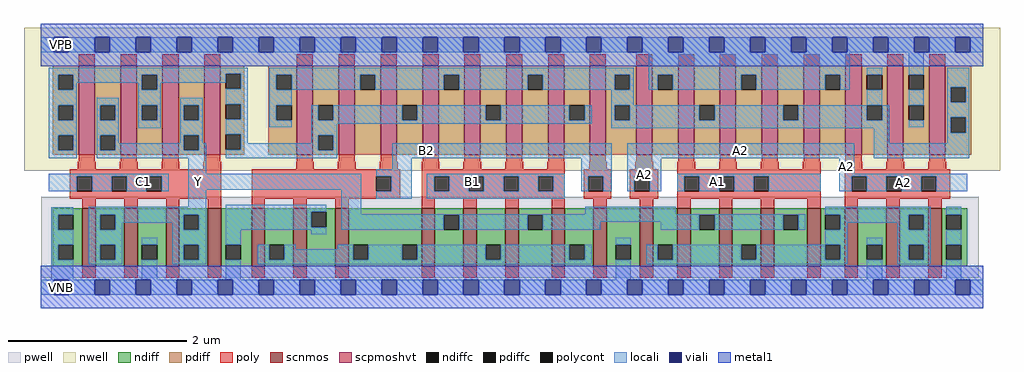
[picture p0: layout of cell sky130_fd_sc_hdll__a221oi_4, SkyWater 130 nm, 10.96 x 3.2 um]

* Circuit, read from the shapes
.subckt sky130_fd_sc_hdll__a221oi_4 A1 A2 B1 B2 C1 VGND VNB VPB VPWR Y
XM1 Y C1 VGND VNB sky130_fd_pr__nfet_01v8 w=0.65 l=0.15 m=4
XM2 n1 B2 VGND VNB sky130_fd_pr__nfet_01v8 w=0.65 l=0.15 m=4
XM3 Y B1 n1 VNB sky130_fd_pr__nfet_01v8 w=0.65 l=0.15 m=4
XM4 n2 A2 VGND VNB sky130_fd_pr__nfet_01v8 w=0.65 l=0.15 m=4
XM5 Y A1 n2 VNB sky130_fd_pr__nfet_01v8 w=0.65 l=0.15 m=4
XM6 Y C1 n3 VPB sky130_fd_pr__pfet_01v8_hvt w=1 l=0.18 m=4
XM7 n3 B2 n4 VPB sky130_fd_pr__pfet_01v8_hvt w=1 l=0.18 m=4
XM8 n4 B1 n3 VPB sky130_fd_pr__pfet_01v8_hvt w=1 l=0.18 m=4
XM9 VPWR A2 n4 VPB sky130_fd_pr__pfet_01v8_hvt w=1 l=0.18 m=4
XM10 n4 A1 VPWR VPB sky130_fd_pr__pfet_01v8_hvt w=1 l=0.18 m=4
.ends

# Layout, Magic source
magic
tech sky130A
magscale 1 2
<< nwell >>
rect -38 261 2154 582
<< pwell >>
rect 1 21 2106 203
rect 30 -17 64 21
<< scnmos >>
rect 93 47 123 177
rect 187 47 217 177
rect 281 47 311 177
rect 375 47 405 177
rect 473 47 503 177
rect 567 47 597 177
rect 661 47 691 177
rect 855 47 885 177
rect 949 47 979 177
rect 1043 47 1073 177
rect 1147 47 1177 177
rect 1241 47 1271 177
rect 1345 47 1375 177
rect 1429 47 1459 177
rect 1523 47 1553 177
rect 1617 47 1647 177
rect 1721 47 1751 177
rect 1805 47 1835 177
rect 1899 47 1929 177
rect 1993 47 2023 177
<< scpmoshvt >>
rect 85 297 121 497
rect 179 297 215 497
rect 273 297 309 497
rect 367 297 403 497
rect 575 297 611 497
rect 669 297 705 497
rect 763 297 799 497
rect 857 297 893 497
rect 951 297 987 497
rect 1045 297 1081 497
rect 1139 297 1175 497
rect 1233 297 1269 497
rect 1337 297 1373 497
rect 1431 297 1467 497
rect 1525 297 1561 497
rect 1619 297 1655 497
rect 1713 297 1749 497
rect 1807 297 1843 497
rect 1901 297 1937 497
rect 1995 297 2031 497
<< ndiff >>
rect 27 163 93 177
rect 27 129 39 163
rect 73 129 93 163
rect 27 95 93 129
rect 27 61 39 95
rect 73 61 93 95
rect 27 47 93 61
rect 123 163 187 177
rect 123 129 133 163
rect 167 129 187 163
rect 123 95 187 129
rect 123 61 133 95
rect 167 61 187 95
rect 123 47 187 61
rect 217 95 281 177
rect 217 61 227 95
rect 261 61 281 95
rect 217 47 281 61
rect 311 163 375 177
rect 311 129 321 163
rect 355 129 375 163
rect 311 95 375 129
rect 311 61 321 95
rect 355 61 375 95
rect 311 47 375 61
rect 405 95 473 177
rect 405 61 415 95
rect 449 61 473 95
rect 405 47 473 61
rect 503 95 567 177
rect 503 61 513 95
rect 547 61 567 95
rect 503 47 567 61
rect 597 169 661 177
rect 597 135 607 169
rect 641 135 661 169
rect 597 47 661 135
rect 691 95 855 177
rect 691 61 701 95
rect 735 61 811 95
rect 845 61 855 95
rect 691 47 855 61
rect 885 163 949 177
rect 885 129 905 163
rect 939 129 949 163
rect 885 47 949 129
rect 979 95 1043 177
rect 979 61 999 95
rect 1033 61 1043 95
rect 979 47 1043 61
rect 1073 163 1147 177
rect 1073 129 1093 163
rect 1127 129 1147 163
rect 1073 47 1147 129
rect 1177 95 1241 177
rect 1177 61 1187 95
rect 1221 61 1241 95
rect 1177 47 1241 61
rect 1271 95 1345 177
rect 1271 61 1291 95
rect 1325 61 1345 95
rect 1271 47 1345 61
rect 1375 95 1429 177
rect 1375 61 1385 95
rect 1419 61 1429 95
rect 1375 47 1429 61
rect 1459 163 1523 177
rect 1459 129 1479 163
rect 1513 129 1523 163
rect 1459 47 1523 129
rect 1553 95 1617 177
rect 1553 61 1573 95
rect 1607 61 1617 95
rect 1553 47 1617 61
rect 1647 163 1721 177
rect 1647 129 1667 163
rect 1701 129 1721 163
rect 1647 47 1721 129
rect 1751 163 1805 177
rect 1751 129 1761 163
rect 1795 129 1805 163
rect 1751 95 1805 129
rect 1751 61 1761 95
rect 1795 61 1805 95
rect 1751 47 1805 61
rect 1835 95 1899 177
rect 1835 61 1855 95
rect 1889 61 1899 95
rect 1835 47 1899 61
rect 1929 163 1993 177
rect 1929 129 1949 163
rect 1983 129 1993 163
rect 1929 95 1993 129
rect 1929 61 1949 95
rect 1983 61 1993 95
rect 1929 47 1993 61
rect 2023 163 2080 177
rect 2023 129 2033 163
rect 2067 129 2080 163
rect 2023 95 2080 129
rect 2023 61 2033 95
rect 2067 61 2080 95
rect 2023 47 2080 61
<< pdiff >>
rect 27 477 85 497
rect 27 443 39 477
rect 73 443 85 477
rect 27 409 85 443
rect 27 375 39 409
rect 73 375 85 409
rect 27 341 85 375
rect 27 307 39 341
rect 73 307 85 341
rect 27 297 85 307
rect 121 409 179 497
rect 121 375 133 409
rect 167 375 179 409
rect 121 341 179 375
rect 121 307 133 341
rect 167 307 179 341
rect 121 297 179 307
rect 215 477 273 497
rect 215 443 227 477
rect 261 443 273 477
rect 215 409 273 443
rect 215 375 227 409
rect 261 375 273 409
rect 215 297 273 375
rect 309 409 367 497
rect 309 375 321 409
rect 355 375 367 409
rect 309 341 367 375
rect 309 307 321 341
rect 355 307 367 341
rect 309 297 367 307
rect 403 479 457 497
rect 403 445 415 479
rect 449 445 457 479
rect 403 411 457 445
rect 403 377 415 411
rect 449 377 457 411
rect 403 343 457 377
rect 403 309 415 343
rect 449 309 457 343
rect 403 297 457 309
rect 511 477 575 497
rect 511 443 529 477
rect 563 443 575 477
rect 511 409 575 443
rect 511 375 529 409
rect 563 375 575 409
rect 511 297 575 375
rect 611 409 669 497
rect 611 375 623 409
rect 657 375 669 409
rect 611 341 669 375
rect 611 307 623 341
rect 657 307 669 341
rect 611 297 669 307
rect 705 477 763 497
rect 705 443 717 477
rect 751 443 763 477
rect 705 297 763 443
rect 799 409 857 497
rect 799 375 811 409
rect 845 375 857 409
rect 799 297 857 375
rect 893 477 951 497
rect 893 443 905 477
rect 939 443 951 477
rect 893 297 951 443
rect 987 409 1045 497
rect 987 375 999 409
rect 1033 375 1045 409
rect 987 297 1045 375
rect 1081 477 1139 497
rect 1081 443 1093 477
rect 1127 443 1139 477
rect 1081 297 1139 443
rect 1175 409 1233 497
rect 1175 375 1187 409
rect 1221 375 1233 409
rect 1175 297 1233 375
rect 1269 477 1337 497
rect 1269 443 1289 477
rect 1323 443 1337 477
rect 1269 409 1337 443
rect 1269 375 1289 409
rect 1323 375 1337 409
rect 1269 297 1337 375
rect 1373 477 1431 497
rect 1373 443 1385 477
rect 1419 443 1431 477
rect 1373 297 1431 443
rect 1467 409 1525 497
rect 1467 375 1479 409
rect 1513 375 1525 409
rect 1467 297 1525 375
rect 1561 477 1619 497
rect 1561 443 1573 477
rect 1607 443 1619 477
rect 1561 297 1619 443
rect 1655 409 1713 497
rect 1655 375 1667 409
rect 1701 375 1713 409
rect 1655 297 1713 375
rect 1749 477 1807 497
rect 1749 443 1761 477
rect 1795 443 1807 477
rect 1749 297 1807 443
rect 1843 477 1901 497
rect 1843 443 1855 477
rect 1889 443 1901 477
rect 1843 409 1901 443
rect 1843 375 1855 409
rect 1889 375 1901 409
rect 1843 297 1901 375
rect 1937 477 1995 497
rect 1937 443 1949 477
rect 1983 443 1995 477
rect 1937 409 1995 443
rect 1937 375 1949 409
rect 1983 375 1995 409
rect 1937 297 1995 375
rect 2031 449 2089 497
rect 2031 415 2043 449
rect 2077 415 2089 449
rect 2031 381 2089 415
rect 2031 347 2043 381
rect 2077 347 2089 381
rect 2031 297 2089 347
<< ndiffc >>
rect 39 129 73 163
rect 39 61 73 95
rect 133 129 167 163
rect 133 61 167 95
rect 227 61 261 95
rect 321 129 355 163
rect 321 61 355 95
rect 415 61 449 95
rect 513 61 547 95
rect 607 135 641 169
rect 701 61 735 95
rect 811 61 845 95
rect 905 129 939 163
rect 999 61 1033 95
rect 1093 129 1127 163
rect 1187 61 1221 95
rect 1291 61 1325 95
rect 1385 61 1419 95
rect 1479 129 1513 163
rect 1573 61 1607 95
rect 1667 129 1701 163
rect 1761 129 1795 163
rect 1761 61 1795 95
rect 1855 61 1889 95
rect 1949 129 1983 163
rect 1949 61 1983 95
rect 2033 129 2067 163
rect 2033 61 2067 95
<< pdiffc >>
rect 39 443 73 477
rect 39 375 73 409
rect 39 307 73 341
rect 133 375 167 409
rect 133 307 167 341
rect 227 443 261 477
rect 227 375 261 409
rect 321 375 355 409
rect 321 307 355 341
rect 415 445 449 479
rect 415 377 449 411
rect 415 309 449 343
rect 529 443 563 477
rect 529 375 563 409
rect 623 375 657 409
rect 623 307 657 341
rect 717 443 751 477
rect 811 375 845 409
rect 905 443 939 477
rect 999 375 1033 409
rect 1093 443 1127 477
rect 1187 375 1221 409
rect 1289 443 1323 477
rect 1289 375 1323 409
rect 1385 443 1419 477
rect 1479 375 1513 409
rect 1573 443 1607 477
rect 1667 375 1701 409
rect 1761 443 1795 477
rect 1855 443 1889 477
rect 1855 375 1889 409
rect 1949 443 1983 477
rect 1949 375 1983 409
rect 2043 415 2077 449
rect 2043 347 2077 381
<< poly >>
rect 85 497 121 523
rect 179 497 215 523
rect 273 497 309 523
rect 367 497 403 523
rect 575 497 611 523
rect 669 497 705 523
rect 763 497 799 523
rect 857 497 893 523
rect 951 497 987 523
rect 1045 497 1081 523
rect 1139 497 1175 523
rect 1233 497 1269 523
rect 1337 497 1373 523
rect 1431 497 1467 523
rect 1525 497 1561 523
rect 1619 497 1655 523
rect 1713 497 1749 523
rect 1807 497 1843 523
rect 1901 497 1937 523
rect 1995 497 2031 523
rect 85 282 121 297
rect 179 282 215 297
rect 273 282 309 297
rect 367 282 403 297
rect 575 282 611 297
rect 669 282 705 297
rect 763 282 799 297
rect 857 282 893 297
rect 951 282 987 297
rect 1045 282 1081 297
rect 1139 282 1175 297
rect 1233 282 1269 297
rect 1337 282 1373 297
rect 1431 282 1467 297
rect 1525 282 1561 297
rect 1619 282 1655 297
rect 1713 282 1749 297
rect 1807 282 1843 297
rect 1901 282 1937 297
rect 1995 282 2031 297
rect 83 265 123 282
rect 177 265 217 282
rect 271 265 311 282
rect 365 265 405 282
rect 573 265 613 282
rect 667 265 707 282
rect 761 265 801 282
rect 855 265 895 282
rect 949 265 989 282
rect 1043 265 1083 282
rect 1137 265 1177 282
rect 1231 265 1271 282
rect 1335 265 1375 282
rect 1429 265 1469 282
rect 1523 265 1563 282
rect 1617 265 1657 282
rect 1711 265 1751 282
rect 65 249 405 265
rect 65 215 81 249
rect 115 215 159 249
rect 193 215 237 249
rect 271 215 405 249
rect 65 199 405 215
rect 93 177 123 199
rect 187 177 217 199
rect 281 177 311 199
rect 375 177 405 199
rect 473 249 807 265
rect 473 215 753 249
rect 787 215 807 249
rect 473 199 807 215
rect 855 249 1177 265
rect 855 215 883 249
rect 917 215 961 249
rect 995 215 1039 249
rect 1073 215 1117 249
rect 1151 215 1177 249
rect 855 199 1177 215
rect 1219 249 1281 265
rect 1219 215 1229 249
rect 1263 215 1281 249
rect 1219 199 1281 215
rect 1323 249 1387 265
rect 1323 215 1333 249
rect 1367 215 1387 249
rect 1323 199 1387 215
rect 1429 249 1751 265
rect 1429 215 1445 249
rect 1479 215 1523 249
rect 1557 215 1601 249
rect 1635 215 1751 249
rect 1429 199 1751 215
rect 473 177 503 199
rect 567 177 597 199
rect 661 177 691 199
rect 855 177 885 199
rect 949 177 979 199
rect 1043 177 1073 199
rect 1147 177 1177 199
rect 1241 177 1271 199
rect 1345 177 1375 199
rect 1429 177 1459 199
rect 1523 177 1553 199
rect 1617 177 1647 199
rect 1721 177 1751 199
rect 1805 265 1845 282
rect 1899 265 1939 282
rect 1993 265 2033 282
rect 1805 249 2042 265
rect 1805 215 1821 249
rect 1855 215 1899 249
rect 1933 215 1977 249
rect 2011 215 2042 249
rect 1805 199 2042 215
rect 1805 177 1835 199
rect 1899 177 1929 199
rect 1993 177 2023 199
rect 93 21 123 47
rect 187 21 217 47
rect 281 21 311 47
rect 375 21 405 47
rect 473 21 503 47
rect 567 21 597 47
rect 661 21 691 47
rect 855 21 885 47
rect 949 21 979 47
rect 1043 21 1073 47
rect 1147 21 1177 47
rect 1241 21 1271 47
rect 1345 21 1375 47
rect 1429 21 1459 47
rect 1523 21 1553 47
rect 1617 21 1647 47
rect 1721 21 1751 47
rect 1805 21 1835 47
rect 1899 21 1929 47
rect 1993 21 2023 47
<< polycont >>
rect 81 215 115 249
rect 159 215 193 249
rect 237 215 271 249
rect 753 215 787 249
rect 883 215 917 249
rect 961 215 995 249
rect 1039 215 1073 249
rect 1117 215 1151 249
rect 1229 215 1263 249
rect 1333 215 1367 249
rect 1445 215 1479 249
rect 1523 215 1557 249
rect 1601 215 1635 249
rect 1821 215 1855 249
rect 1899 215 1933 249
rect 1977 215 2011 249
<< locali >>
rect 0 527 29 561
rect 63 527 121 561
rect 155 527 213 561
rect 247 527 305 561
rect 339 527 397 561
rect 431 527 489 561
rect 523 527 581 561
rect 615 527 673 561
rect 707 527 765 561
rect 799 527 857 561
rect 891 527 949 561
rect 983 527 1041 561
rect 1075 527 1133 561
rect 1167 527 1225 561
rect 1259 527 1317 561
rect 1351 527 1409 561
rect 1443 527 1501 561
rect 1535 527 1593 561
rect 1627 527 1685 561
rect 1719 527 1777 561
rect 1811 527 1869 561
rect 1903 527 1961 561
rect 1995 527 2053 561
rect 2087 527 2116 561
rect 18 479 465 493
rect 18 477 415 479
rect 18 443 39 477
rect 73 459 227 477
rect 73 443 81 459
rect 18 409 81 443
rect 219 443 227 459
rect 261 459 415 477
rect 261 443 269 459
rect 18 375 39 409
rect 73 375 81 409
rect 18 341 81 375
rect 18 307 39 341
rect 73 307 81 341
rect 18 289 81 307
rect 125 409 175 425
rect 125 375 133 409
rect 167 375 175 409
rect 125 341 175 375
rect 219 409 269 443
rect 449 445 465 479
rect 219 375 227 409
rect 261 375 269 409
rect 219 357 269 375
rect 313 409 363 425
rect 313 375 321 409
rect 355 375 363 409
rect 125 307 133 341
rect 167 323 175 341
rect 313 341 363 375
rect 313 323 321 341
rect 167 307 321 323
rect 355 323 363 341
rect 415 411 465 445
rect 449 377 465 411
rect 415 343 465 377
rect 513 477 1331 493
rect 513 443 529 477
rect 563 443 717 477
rect 751 443 905 477
rect 939 443 1093 477
rect 1127 443 1289 477
rect 1323 443 1331 477
rect 1365 477 1817 527
rect 1365 443 1385 477
rect 1419 443 1573 477
rect 1607 443 1761 477
rect 1795 443 1817 477
rect 1855 477 1889 493
rect 513 409 563 443
rect 1281 409 1331 443
rect 1855 409 1889 443
rect 1949 477 1983 527
rect 1949 409 1983 443
rect 513 375 529 409
rect 513 359 563 375
rect 607 375 623 409
rect 657 375 811 409
rect 845 375 999 409
rect 1033 375 1187 409
rect 1221 375 1237 409
rect 607 367 1237 375
rect 1281 375 1289 409
rect 1323 375 1479 409
rect 1513 375 1667 409
rect 1701 375 1855 409
rect 1889 375 1905 409
rect 355 307 371 323
rect 125 289 371 307
rect 449 323 465 343
rect 607 341 666 367
rect 1281 357 1905 375
rect 1949 359 1983 375
rect 2035 449 2085 493
rect 2035 415 2043 449
rect 2077 415 2085 449
rect 2035 381 2085 415
rect 607 323 623 341
rect 449 309 623 323
rect 415 307 623 309
rect 657 307 666 341
rect 1871 323 1905 357
rect 2035 347 2043 381
rect 2077 347 2085 381
rect 2035 323 2085 347
rect 415 289 666 307
rect 789 289 1282 323
rect 331 255 371 289
rect 789 265 833 289
rect 18 249 287 255
rect 18 215 81 249
rect 115 215 159 249
rect 193 215 237 249
rect 271 215 287 249
rect 331 219 719 255
rect 331 181 371 219
rect 23 163 73 179
rect 23 129 39 163
rect 23 95 73 129
rect 23 61 39 95
rect 23 17 73 61
rect 107 163 371 181
rect 107 129 133 163
rect 167 145 321 163
rect 167 129 183 145
rect 107 95 183 129
rect 295 129 321 145
rect 355 129 371 163
rect 107 61 133 95
rect 167 61 183 95
rect 107 51 183 61
rect 227 95 261 111
rect 227 17 261 61
rect 295 95 371 129
rect 295 61 321 95
rect 355 61 371 95
rect 295 51 371 61
rect 415 169 641 185
rect 415 135 607 169
rect 415 129 641 135
rect 675 164 719 219
rect 753 249 833 265
rect 787 215 833 249
rect 753 199 833 215
rect 867 249 1177 255
rect 867 215 883 249
rect 917 215 961 249
rect 995 215 1039 249
rect 1073 215 1117 249
rect 1151 215 1177 249
rect 1213 249 1282 289
rect 1213 215 1229 249
rect 1263 215 1282 249
rect 1317 289 1827 323
rect 1871 289 2085 323
rect 1317 249 1393 289
rect 1793 255 1827 289
rect 1317 215 1333 249
rect 1367 215 1393 249
rect 1429 249 1751 255
rect 1429 215 1445 249
rect 1479 215 1523 249
rect 1557 215 1601 249
rect 1635 215 1751 249
rect 1793 249 2080 255
rect 1793 215 1821 249
rect 1855 215 1899 249
rect 1933 215 1977 249
rect 2011 215 2080 249
rect 867 199 1177 215
rect 1222 164 1426 181
rect 675 163 1717 164
rect 675 129 905 163
rect 939 129 1093 163
rect 1127 147 1479 163
rect 1127 129 1256 147
rect 1392 129 1479 147
rect 1513 129 1667 163
rect 1701 129 1717 163
rect 1761 163 1999 181
rect 1795 145 1949 163
rect 1795 129 1811 145
rect 415 95 449 129
rect 607 119 641 129
rect 1291 95 1325 111
rect 1761 95 1811 129
rect 1923 129 1949 145
rect 1983 129 1999 163
rect 415 17 449 61
rect 487 61 513 95
rect 547 85 572 95
rect 667 85 701 95
rect 547 61 701 85
rect 735 61 811 95
rect 845 61 999 95
rect 1033 61 1187 95
rect 1221 61 1237 95
rect 487 51 1237 61
rect 1291 17 1325 61
rect 1359 61 1385 95
rect 1419 61 1573 95
rect 1607 61 1761 95
rect 1795 61 1811 95
rect 1359 51 1811 61
rect 1855 95 1889 111
rect 1855 17 1889 61
rect 1923 95 1999 129
rect 1923 61 1949 95
rect 1983 61 1999 95
rect 1923 51 1999 61
rect 2033 163 2067 181
rect 2033 95 2067 129
rect 2033 17 2067 61
rect 0 -17 29 17
rect 63 -17 121 17
rect 155 -17 213 17
rect 247 -17 305 17
rect 339 -17 397 17
rect 431 -17 489 17
rect 523 -17 581 17
rect 615 -17 673 17
rect 707 -17 765 17
rect 799 -17 857 17
rect 891 -17 949 17
rect 983 -17 1041 17
rect 1075 -17 1133 17
rect 1167 -17 1225 17
rect 1259 -17 1317 17
rect 1351 -17 1409 17
rect 1443 -17 1501 17
rect 1535 -17 1593 17
rect 1627 -17 1685 17
rect 1719 -17 1777 17
rect 1811 -17 1869 17
rect 1903 -17 1961 17
rect 1995 -17 2053 17
rect 2087 -17 2116 17
<< viali >>
rect 29 527 63 561
rect 121 527 155 561
rect 213 527 247 561
rect 305 527 339 561
rect 397 527 431 561
rect 489 527 523 561
rect 581 527 615 561
rect 673 527 707 561
rect 765 527 799 561
rect 857 527 891 561
rect 949 527 983 561
rect 1041 527 1075 561
rect 1133 527 1167 561
rect 1225 527 1259 561
rect 1317 527 1351 561
rect 1409 527 1443 561
rect 1501 527 1535 561
rect 1593 527 1627 561
rect 1685 527 1719 561
rect 1777 527 1811 561
rect 1869 527 1903 561
rect 1961 527 1995 561
rect 2053 527 2087 561
rect 29 -17 63 17
rect 121 -17 155 17
rect 213 -17 247 17
rect 305 -17 339 17
rect 397 -17 431 17
rect 489 -17 523 17
rect 581 -17 615 17
rect 673 -17 707 17
rect 765 -17 799 17
rect 857 -17 891 17
rect 949 -17 983 17
rect 1041 -17 1075 17
rect 1133 -17 1167 17
rect 1225 -17 1259 17
rect 1317 -17 1351 17
rect 1409 -17 1443 17
rect 1501 -17 1535 17
rect 1593 -17 1627 17
rect 1685 -17 1719 17
rect 1777 -17 1811 17
rect 1869 -17 1903 17
rect 1961 -17 1995 17
rect 2053 -17 2087 17
<< metal1 >>
rect 0 561 2116 592
rect 0 527 29 561
rect 63 527 121 561
rect 155 527 213 561
rect 247 527 305 561
rect 339 527 397 561
rect 431 527 489 561
rect 523 527 581 561
rect 615 527 673 561
rect 707 527 765 561
rect 799 527 857 561
rect 891 527 949 561
rect 983 527 1041 561
rect 1075 527 1133 561
rect 1167 527 1225 561
rect 1259 527 1317 561
rect 1351 527 1409 561
rect 1443 527 1501 561
rect 1535 527 1593 561
rect 1627 527 1685 561
rect 1719 527 1777 561
rect 1811 527 1869 561
rect 1903 527 1961 561
rect 1995 527 2053 561
rect 2087 527 2116 561
rect 0 496 2116 527
rect 0 17 2116 48
rect 0 -17 29 17
rect 63 -17 121 17
rect 155 -17 213 17
rect 247 -17 305 17
rect 339 -17 397 17
rect 431 -17 489 17
rect 523 -17 581 17
rect 615 -17 673 17
rect 707 -17 765 17
rect 799 -17 857 17
rect 891 -17 949 17
rect 983 -17 1041 17
rect 1075 -17 1133 17
rect 1167 -17 1225 17
rect 1259 -17 1317 17
rect 1351 -17 1409 17
rect 1443 -17 1501 17
rect 1535 -17 1593 17
rect 1627 -17 1685 17
rect 1719 -17 1777 17
rect 1811 -17 1869 17
rect 1903 -17 1961 17
rect 1995 -17 2053 17
rect 2087 -17 2116 17
rect 0 -48 2116 -17
<< labels >>
flabel locali s 1793 255 1827 289 0 FreeSans 400 180 0 0 A2
port 2 nsew signal input
flabel locali s 336 221 370 255 0 FreeSans 400 180 0 0 Y
port 10 nsew signal output
flabel locali s 214 221 248 255 0 FreeSans 400 0 0 0 C1
port 5 nsew signal input
flabel locali s 1502 221 1536 255 0 FreeSans 400 180 0 0 A1
port 1 nsew signal input
flabel locali s 850 289 884 323 0 FreeSans 400 0 0 0 B2
port 4 nsew signal input
flabel locali s 952 221 986 255 0 FreeSans 400 0 0 0 B1
port 3 nsew signal input
flabel pwell s 30 -17 64 17 0 FreeSans 200 0 0 0 VNB
port 7 nsew ground bidirectional
flabel nwell s 30 527 64 561 0 FreeSans 200 0 0 0 VPB
port 8 nsew power bidirectional
flabel metal1 s 30 527 64 561 0 FreeSans 200 0 0 0 VPWR
port 9 nsew power bidirectional
flabel metal1 s 30 -17 64 17 0 FreeSans 200 0 0 0 VGND
port 6 nsew ground bidirectional
rlabel locali s 1793 215 2080 255 1 A2
port 2 nsew signal input
rlabel locali s 1317 289 1827 323 1 A2
port 2 nsew signal input
rlabel locali s 1317 215 1393 289 1 A2
port 2 nsew signal input
<< properties >>
string LEFsite unithd
string LEFclass CORE
string FIXED_BBOX 0 0 2116 544
string GDS_FILE $PDKPATH/libs.ref/sky130_fd_sc_hdll/gds/sky130_fd_sc_hdll.gds
string LEFsymmetry X Y R90
string GDS_END 1686394
string GDS_START 1672446
string LEFproperties maskLayoutSubType "abstract" prCellType "standard" originalViewName "layout"
<< end >>
